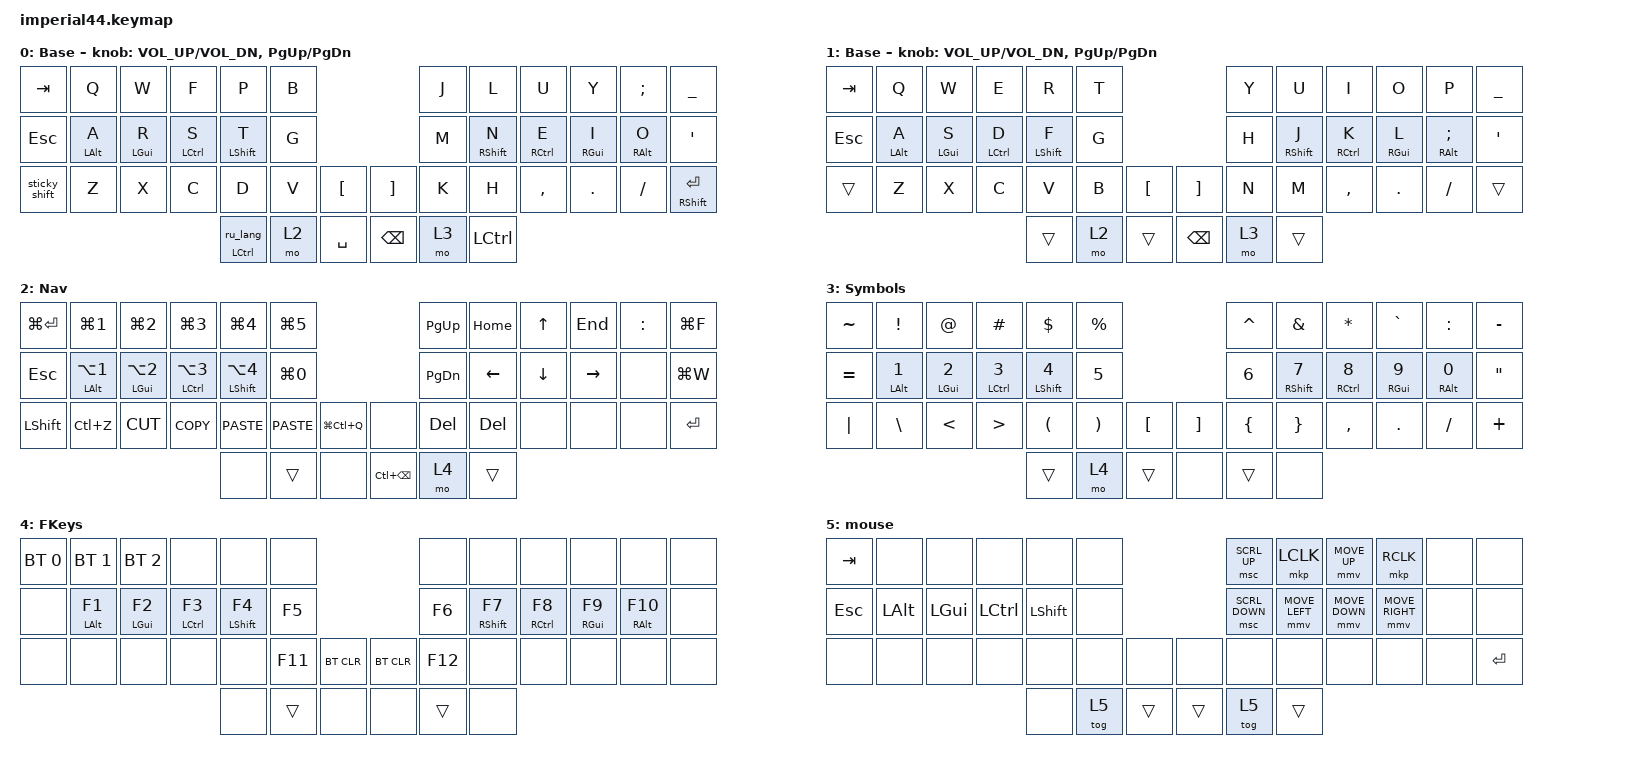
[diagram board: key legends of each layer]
#define ZMK_POINTING_DEFAULT_MOVE_VAL 1500  // default: 600
#define ZMK_POINTING_DEFAULT_SCRL_VAL 20    // default: 10#include "keys_ru.h"

#include <behaviors.dtsi>
#include <dt-bindings/zmk/bt.h>
#include <dt-bindings/zmk/keys.h>
#include <dt-bindings/zmk/pointing.h>

/ {
    behaviors {
        hrm_left: hrm_left {
            compatible = "zmk,behavior-hold-tap";
            label = "HRM_LEFT";
            bindings = <&kp>, <&kp>;

            #binding-cells = <2>;
            tapping-term-ms = <280>;
            require-prior-idle-ms = <150>;
            flavor = "balanced";
            hold-trigger-on-release;
            hold-trigger-key-positions = <32 31 6 7 8 9 10 11 18 19 20 21 22 23 32 33 34 35 36 37 31 32 33 34 41 42 43>;
        };

        hrm_right: hrm_right {
            compatible = "zmk,behavior-hold-tap";
            label = "HRM_RIGHT";
            bindings = <&kp>, <&kp>;

            #binding-cells = <2>;
            tapping-term-ms = <280>;
            require-prior-idle-ms = <150>;
            flavor = "balanced";
            hold-trigger-on-release;
            hold-trigger-key-positions = <40 0 1 2 3 4 5 12 13 14 15 16 17 24 25 26 27 28 29 30 38 39 40>;
        };

        TD_mouse_layer: TD_mouse_layer {
            compatible = "zmk,behavior-tap-dance";
            label = "TD_MOUSE_LAYER";
            #binding-cells = <0>;
            bindings = <&none>, <&tog 5>;

            tapping-term-ms = <300>;
        };

        hrm_shift_left: hrm_shift_left {
            compatible = "zmk,behavior-hold-tap";
            label = "HRM_SHIFT_LEFT";
            bindings = <&kp>, <&kp>;

            #binding-cells = <2>;
            hold-trigger-key-positions = <31 6 7 8 9 10 11 18 19 20 21 22 23 31 32 33 34 35 36 37>;
            tapping-term-ms = <1000>;
            flavor = "hold-preferred";
            hold-trigger-on-release;
            hold-while-undecided;
        };

        hrm_shift_right: hrm_shift_right {
            compatible = "zmk,behavior-hold-tap";
            label = "HRM_SHIFT_RIGHT";
            bindings = <&kp>, <&kp>;

            #binding-cells = <2>;
            tapping-term-ms = <1000>;
            hold-trigger-key-positions = <0 1 2 3 4 5 12 13 14 15 16 17 24 25 26 27 28 29 30>;
            flavor = "hold-preferred";
            hold-while-undecided;
            hold-trigger-on-release;
        };

        sticky_shift: sticky_shift {
            compatible = "zmk,behavior-tap-dance";
            label = "STICKY_SHIFT";
            #binding-cells = <0>;
            bindings = <&sticky_shift_press LEFT_SHIFT>, <&caps_word>;

            tapping-term-ms = <400>;
        };

        sticky_shift_press: sticky_shift_press {
            compatible = "zmk,behavior-sticky-key";
            label = "STICKY_SHIFT_PRESS";
            bindings = <&kp>;
            #binding-cells = <1>;
            release-after-ms = <1500>;
            quick-release;
        };

        hrm_simple: hrm_simple {
            compatible = "zmk,behavior-hold-tap";
            label = "HRM_SIMPLE";
            bindings = <&kp>, <&kp>;

            #binding-cells = <2>;
            tapping-term-ms = <400>;
            flavor = "tap-preferred";
        };

        ctrl_ru_lang: ctrl_ru_lang {
            compatible = "zmk,behavior-hold-tap";
            label = "CTRL_RU_LANG";
            bindings = <&kp>, <&ru_lang>;

            #binding-cells = <2>;
            tapping-term-ms = <200>;
            hold-while-undecided;
            hold-while-undecided-linger;
        };
    };

    macros {
        ru_lang: new_macro {
            compatible = "zmk,behavior-macro";
            #binding-cells = <0>;
            bindings = <&tog 1 &kp SCROLLLOCK>;
            label = "NEW_MACRO";
        };
    };

    keymap {
        compatible = "zmk,keymap";

        colemak-dh {
            bindings = <
&kp TAB        &kp Q                   &kp W                   &kp F                &kp P                     &kp B                              &kp J  &kp L                      &kp U                &kp Y                    &kp SEMI                 &kp UNDER
&kp ESC        &hrm_simple LEFT_ALT A  &hrm_simple LEFT_GUI R  &hrm_simple LCTRL S  &hrm_simple LEFT_SHIFT T  &kp G                              &kp M  &hrm_simple RIGHT_SHIFT N  &hrm_simple RCTRL E  &hrm_simple RIGHT_GUI I  &hrm_simple RIGHT_ALT O  &kp SQT
&sticky_shift  &kp Z                   &kp X                   &kp C                &kp D                     &kp V  &kp LBKT     &kp RBKT       &kp K  &kp H                      &kp COMMA            &kp DOT                  &kp FSLH                 &mt RSHFT ENTER
                                                                                    &ctrl_ru_lang LCTRL 0     &mo 2  &kp SPACE    &kp BACKSPACE  &mo 3  &kp LCTRL
            >;

            display-name = "Base";
            sensor-bindings =
                <&inc_dec_kp C_VOL_UP C_VOL_DN>,
                <&inc_dec_kp PG_UP PG_DN>;
        };

        qwerty {
            display-name = "Base";
            bindings = <
&kp TAB  &kp Q                   &kp W                   &kp E                &kp R                     &kp T                             &kp Y  &kp U                      &kp I                &kp O                    &kp P                       &kp UNDER
&kp ESC  &hrm_simple LEFT_ALT A  &hrm_simple LEFT_GUI S  &hrm_simple LCTRL D  &hrm_simple LEFT_SHIFT F  &kp G                             &kp H  &hrm_simple RIGHT_SHIFT J  &hrm_simple RCTRL K  &hrm_simple RIGHT_GUI L  &hrm_simple RIGHT_ALT SEMI  &kp SQT
&trans   &kp Z                   &kp X                   &kp C                &kp V                     &kp B  &kp LBKT    &kp RBKT       &kp N  &kp M                      &kp COMMA            &kp DOT                  &kp FSLH                    &trans
                                                                              &trans                    &mo 2  &trans      &kp BACKSPACE  &mo 3  &trans
            >;

            sensor-bindings =
                <&inc_dec_kp C_VOL_UP C_VOL_DN>,
                <&inc_dec_kp PG_UP PG_DN>;
        };

        nav {
            display-name = "Nav";
            bindings = <
&kp LG(ENTER)  &kp LG(NUMBER_1)           &kp LG(NUMBER_2)           &kp LG(NUMBER_3)        &kp LG(NUMBER_4)             &kp LG(N5)                                       &kp PAGE_UP    &kp HOME    &kp UP_ARROW  &kp END          &kp COLON  &kp LG(F)
&kp ESC        &mt LEFT_ALT LA(NUMBER_1)  &mt LEFT_GUI LA(NUMBER_2)  &mt LCTRL LA(NUMBER_3)  &mt LEFT_SHIFT LA(NUMBER_4)  &kp LG(N0)                                       &kp PAGE_DOWN  &kp LEFT    &kp DOWN      &kp RIGHT_ARROW  &none      &kp LG(W)
&kp LSHFT      &kp LC(Z)                  &kp K_CUT                  &kp K_COPY              &kp K_PASTE                  &kp K_PASTE  &kp LG(LC(Q))    &none              &kp DELETE     &kp DELETE  &none         &none            &none      &kp ENTER
                                                                                             &none                        &trans       &none            &kp LC(BACKSPACE)  &mo 4          &trans
            >;
        };

        sym {
            bindings = <
&kp TILDE  &kp EXCL                 &kp AT_SIGN                    &kp HASH                    &kp DOLLAR                       &kp PRCNT                                            &kp CARET       &kp AMPERSAND               &kp ASTERISK          &kp GRAVE                 &kp COLON                 &kp MINUS
&kp EQUAL  &hrm_simple LEFT_ALT N1  &hrm_simple LEFT_GUI NUMBER_2  &hrm_simple LCTRL NUMBER_3  &hrm_simple LEFT_SHIFT NUMBER_4  &kp NUMBER_5                                         &kp N6          &hrm_simple RIGHT_SHIFT N7  &hrm_simple RCTRL N8  &hrm_simple RIGHT_GUI N9  &hrm_simple RIGHT_ALT N0  &kp DOUBLE_QUOTES
&kp PIPE   &kp BACKSLASH            &kp LESS_THAN                  &kp GREATER_THAN            &kp LPAR                         &kp RPAR      &kp LEFT_BRACKET    &kp RIGHT_BRACKET  &kp LEFT_BRACE  &kp RIGHT_BRACE             &kp COMMA             &kp DOT                   &kp FSLH                  &kp PLUS
                                                                                               &trans                           &mo 4         &trans              &none              &trans          &none
            >;

            display-name = "Symbols";
        };

        fkeys {
            bindings = <
&bt BT_SEL 0  &bt BT_SEL 1             &bt BT_SEL 2             &none                 &none                      &none                              &none    &none                       &none                 &none                     &none                      &none
&none         &hrm_simple LEFT_ALT F1  &hrm_simple LEFT_GUI F2  &hrm_simple LCTRL F3  &hrm_simple LEFT_SHIFT F4  &kp F5                             &kp F6   &hrm_simple RIGHT_SHIFT F7  &hrm_simple RCTRL F8  &hrm_simple RIGHT_GUI F9  &hrm_simple RIGHT_ALT F10  &none
&none         &none                    &none                    &none                 &none                      &kp F11  &bt BT_CLR    &bt BT_CLR  &kp F12  &none                       &none                 &none                     &none                      &none
                                                                                      &none                      &trans   &none         &none       &trans   &none
            >;

            display-name = "FKeys";
        };

        mouse {
            bindings = <
&kp TAB  &none     &none     &none      &none      &none                     &msc SCRL_UP    &mkp LCLK       &mmv MOVE_UP    &mkp RCLK        &none  &none
&kp ESC  &kp LALT  &kp LGUI  &kp LCTRL  &kp LSHFT  &none                     &msc SCRL_DOWN  &mmv MOVE_LEFT  &mmv MOVE_DOWN  &mmv MOVE_RIGHT  &none  &none
&none    &none     &none     &none      &none      &none   &none     &none   &none           &none           &none           &none            &none  &kp ENTER
                                        &none      &tog 5  &trans    &trans  &tog 5          &trans
            >;
        };
    };
};
